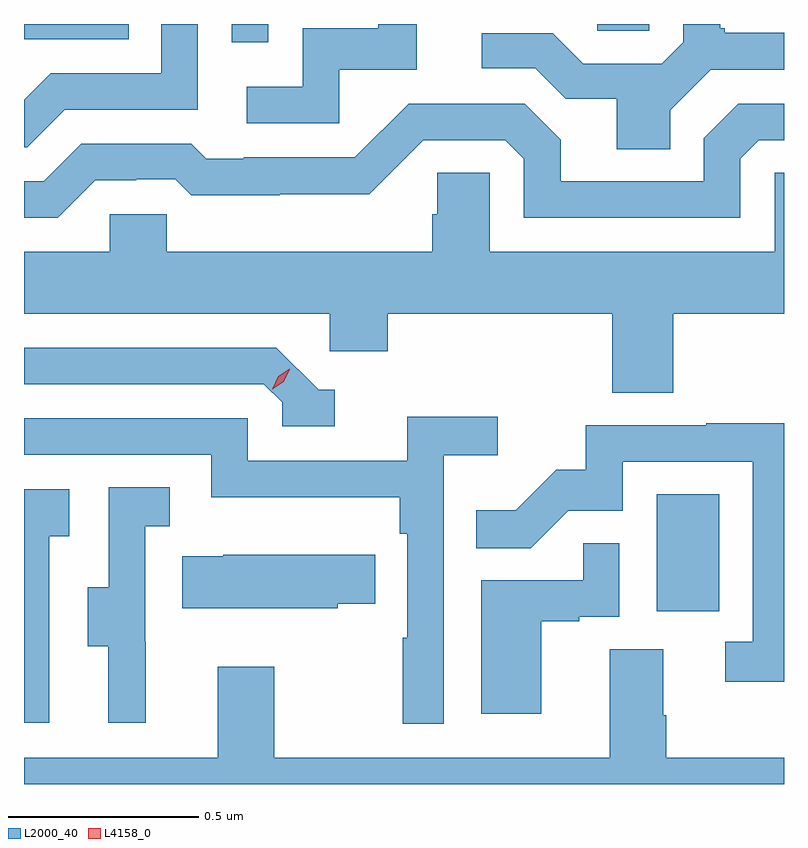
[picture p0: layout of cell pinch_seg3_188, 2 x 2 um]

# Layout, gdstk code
import gdstk
lib = gdstk.Library(unit=1e-6, precision=1e-09)
def R(c, l, rs):  # rectangles x0, y0, x1, y1
    for r in rs: c.add(gdstk.rectangle(r[:2], r[2:], *l))
def P(c, l, *ps):  # polygons
    for p in ps: c.add(gdstk.Polygon(p, *l))
L2000_40 = (2000, 40)
L4158_0 = (4158, 0)

pinch_seg3_188 = lib.new_cell('pinch_seg3_188')
R(pinch_seg3_188, L2000_40, [(1001.636,734.766,1001.8,735.073), (1000.518,736.263,1000.614,736.311), (999.971,736.271,1000.247,736.311), (1001.479,736.293,1001.616,736.311)])
P(pinch_seg3_188, L2000_40, [(1000.8,736.191),(1001.005,736.191),(1001.005,736.311),(1000.903,736.311),(1000.903,736.3),(1000.704,736.3),(1000.704,736.146),(1000.557,736.146),(1000.557,736.05),(1000.8,736.05)],
  [(1001.671,736.084),(1001.778,736.191),(1001.971,736.191),(1001.971,736.288),(1001.815,736.288),(1001.815,736.3),(1001.803,736.3),(1001.803,736.311),(1001.706,736.311),(1001.706,736.263),(1001.649,736.206),(1001.443,736.206),(1001.362,736.287),(1001.175,736.287),(1001.175,736.194),(1001.316,736.194),(1001.396,736.114),(1001.531,736.114),(1001.531,735.982),(1001.671,735.982)],
  [(1000.078,736.086),(1000.428,736.086),(1000.428,736.311),(1000.332,736.311),(1000.332,736.182),(1000.041,736.182),(999.971,736.112),(999.971,735.987),(999.979,735.987)],
  [(1000.159,735.9),(1000.266,735.9),(1000.266,735.903),(1000.369,735.903),(1000.411,735.861),(1000.644,735.861),(1000.644,735.863),(1000.88,735.863),(1001.022,736.005),(1001.238,736.005),(1001.286,735.957),(1001.286,735.801),(1001.856,735.801),(1001.856,735.957),(1001.904,736.005),(1001.971,736.005),(1001.971,736.101),(1001.85,736.101),(1001.76,736.011),(1001.76,735.897),(1001.383,735.897),(1001.383,736.007),(1001.289,736.101),(1000.983,736.101),(1000.842,735.96),(1000.549,735.96),(1000.549,735.957),(1000.45,735.957),(1000.411,735.996),(1000.122,735.996),(1000.023,735.897),(999.971,735.897),(999.971,735.801),(1000.06,735.801)],
  [(1001.679,735.548),(1001.971,735.548),(1001.971,735.92),(1001.946,735.92),(1001.946,735.712),(1001.196,735.712),(1001.196,735.92),(1001.059,735.92),(1001.059,735.81),(1001.045,735.81),(1001.045,735.712),(1000.347,735.712),(1000.347,735.81),(1000.197,735.81),(1000.197,735.712),(999.971,735.712),(999.971,735.548),(1000.776,735.548),(1000.776,735.45),(1000.928,735.45),(1000.928,735.548),(1001.519,735.548),(1001.519,735.34),(1001.679,735.34)],
  [(1000.789,735.348),(1000.746,735.348),(1000.635,735.459),(999.971,735.459),(999.971,735.363),(1000.602,735.363),(1000.65,735.315),(1000.65,735.252),(1000.789,735.252)],
  [(1001.076,735.176),(1001.218,735.176),(1001.218,735.278),(1000.979,735.278),(1000.979,735.162),(1000.56,735.162),(1000.56,735.273),(999.971,735.273),(999.971,735.177),(1000.464,735.177),(1000.464,735.065),(1000.96,735.065),(1000.96,734.969),(1000.98,734.969),(1000.98,734.696),(1000.968,734.696),(1000.968,734.469),(1001.076,734.469)],
  [(1001.971,735.26),(1001.767,735.26),(1001.767,735.255),(1001.449,735.255),(1001.449,735.138),(1001.372,735.138),(1001.265,735.031),(1001.161,735.031),(1001.161,734.932),(1001.305,734.932),(1001.403,735.03),(1001.547,735.03),(1001.547,735.159),(1001.889,735.159),(1001.889,734.685),(1001.817,734.685),(1001.817,734.58),(1001.971,734.58)],
  [(1000.292,734.685),(1000.29,734.685),(1000.29,734.989),(1000.354,734.989),(1000.354,735.092),(1000.194,735.092),(1000.194,734.829),(1000.139,734.829),(1000.139,734.674),(1000.193,734.674),(1000.193,734.472),(1000.292,734.472)],
  [(1000.038,734.963),(1000.09,734.963),(1000.09,735.087),(999.971,735.087),(999.971,734.472),(1000.038,734.472)],
  [(1001.332,734.739),(1001.432,734.739),(1001.432,734.751),(1001.538,734.751),(1001.538,734.945),(1001.443,734.945),(1001.443,734.847),(1001.174,734.847),(1001.174,734.496),(1001.332,734.496)],
  [(1000.797,734.785),(1000.895,734.785),(1000.895,734.914),(1000.495,734.914),(1000.495,734.911),(1000.387,734.911),(1000.387,734.774),(1000.797,734.774)],
  [(1001.971,734.38),(1001.661,734.38),(1001.661,734.492),(1001.653,734.492),(1001.653,734.666),(1001.513,734.666),(1001.513,734.38),(1000.629,734.38),(1000.629,734.62),(1000.481,734.62),(1000.481,734.38),(999.971,734.38),(999.971,734.311),(1001.971,734.311)])
P(pinch_seg3_188, L4158_0, [(1000.624,735.35),(1000.624,735.35),(1000.64,735.384),(1000.67,735.404),(1000.67,735.404),(1000.67,735.403),(1000.655,735.37),(1000.624,735.35)])

lib.write_gds('pinch_seg3_188.gds')
